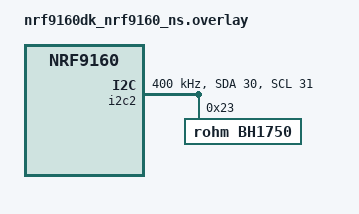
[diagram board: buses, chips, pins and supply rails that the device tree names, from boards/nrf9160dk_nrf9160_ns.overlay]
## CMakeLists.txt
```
cmake_minimum_required(VERSION 3.20.0)

#+set(ZEPHYR_EXTRA_MODULES drivers/bh1750)
find_package(Zephyr REQUIRED HINTS $ENV{ZEPHYR_BASE})
project(bh1750)

FILE(GLOB app_sources src/*.c)
# NORDIC SDK APP START
target_sources(app PRIVATE ${app_sources})
# NORDIC SDK APP END

add_subdirectory(drivers)
```

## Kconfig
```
# Copyright (c) 2021 Golioth, Inc.
# SPDX-License-Identifier: Apache-2.0

mainmenu "Golioth application options"

if WIFI_ESP32

config ESP32_WIFI_SSID
	default GOLIOTH_SAMPLE_WIFI_SSID

config ESP32_WIFI_PASSWORD
	default GOLIOTH_SAMPLE_WIFI_PSK

endif # WIFI_ESP32

if DNS_RESOLVER

config DNS_SERVER_IP_ADDRESSES
	default y

config DNS_SERVER1
	default "1.1.1.1"

endif # DNS_RESOLVER

source "Kconfig.zephyr"

rsource "drivers/Kconfig"
```

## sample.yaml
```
sample:
  name: BH1750 Sensor Sample
tests:
  samples.sensor.bh1750:
    harness: sensor
    tags: sensors
    platform_allow: nrf9160dk_nrf9160
    integration_platforms:
      - nrf9160dk_nrf9160
    depends_on: i2c
```

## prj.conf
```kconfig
CONFIG_LOG=y
CONFIG_I2C=y
CONFIG_SENSOR=y
CONFIG_BH1750=y
#CONFIG_BH1749_TRIGGER=y

# Generic networking options
CONFIG_NETWORKING=y
CONFIG_NET_IPV4=y
CONFIG_NET_IPV6=n

# Logging
CONFIG_NET_LOG=y

# Network Shell
CONFIG_NET_SHELL=y

# TLS configuration
CONFIG_MBEDTLS_ENABLE_HEAP=y
CONFIG_MBEDTLS_HEAP_SIZE=10240
CONFIG_MBEDTLS_SSL_MAX_CONTENT_LEN=2048

# Application
CONFIG_MAIN_STACK_SIZE=4096

CONFIG_GOLIOTH=y
CONFIG_GOLIOTH_SYSTEM_CLIENT=y

CONFIG_MINIMAL_LIBC_MALLOC_ARENA_SIZE=256

CONFIG_LOG_BACKEND_GOLIOTH=y
CONFIG_LOG_PROCESS_THREAD_STACK_SIZE=2048

CONFIG_GOLIOTH_SYSTEM_CLIENT_PSK_ID="20220104154532-first-feather@firstproject-f75d09"
CONFIG_GOLIOTH_SYSTEM_CLIENT_PSK="7a1276c6ad14e7a2fc617b5d723c38ca"

CONFIG_BOOTLOADER_MCUBOOT=y

# CONFIG_UART_CONSOLE=n
# CONFIG_RTT_CONSOLE=y
# CONFIG_USE_SEGGER_RTT=y
```

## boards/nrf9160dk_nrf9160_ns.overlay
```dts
/*
 * Copyright (c) 2018-2020 Nordic Semiconductor ASA
 *
 * SPDX-License-Identifier: Apache-2.0
 */



&i2c2 {
	compatible = "nordic,nrf-twim";
	status = "okay";
	sda-pin = <30>;
	scl-pin = <31>;
	clock-frequency = <I2C_BITRATE_FAST>;

	bh1750@23 {
		compatible = "rohm,bh1750";
		label = "BH1750";
		reg = <0x23>;
			
	};
};
```

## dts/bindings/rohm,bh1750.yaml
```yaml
# Copyright (c) 2021 Nordic Semiconductor ASA
# SPDX-License-Identifier: Apache-2.0

# This binding has been added solely for the purpose of the overlay files used
# in the drivers/i2s/echo sample. That's why it is located in this sample source
# directory. It can be moved and made available more widely if the need arises.

description: bh1750 Ambient Light Sensor

compatible: "rohm,bh1750"

include: i2c-device.yaml
```

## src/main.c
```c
/*
 * Copyright (c) 2019 Nordic Semiconductor ASA
 *
 * SPDX-License-Identifier: Apache-2.0
 */


#include <zephyr.h>
#include <device.h>
#include <drivers/sensor.h>
#include <stdio.h>
#include <sys/__assert.h>
//#include "drivers/bh1750.h"

//extern static const struct device *bh1750_dev;

/* This sets up  the sensor to signal valid data when a threshold
 * value is reached.
 */
static void process(const struct device *dev)
{
	int ret;
	int val;
	
	uint16_t sensor_val;
	//struct bh1750_data *data = dev->data;
	struct sensor_value temp_val;




	

	//sensor_val = be16_to_cpu(dev->data   .sample_amb_light[0]);

	while (1) {

		ret = sensor_sample_fetch_chan(dev, SENSOR_CHAN_LIGHT);

		ret = sensor_channel_get(dev, SENSOR_CHAN_LIGHT, &temp_val);

		if (ret) {
			printk("sensor_channel_get failed ret %d\n", ret);
			return;
		}
		printk("BH1750 LUX: %d\n", temp_val.val1);
        
		k_sleep(K_MSEC(2000));
	}
}

void main(void)
{
	const struct device *dev;

	if (IS_ENABLED(CONFIG_LOG_BACKEND_RTT)) {
		/* Give RTT log time to be flushed before executing tests */
		k_sleep(K_MSEC(500));
	}
	dev = device_get_binding("BH1750");
	if (dev == NULL) {
		printk("Failed to get device binding\n");
		return;
	}
	printk("device is %p, name is %s\n", dev, dev->name);
	process(dev);
}
```
